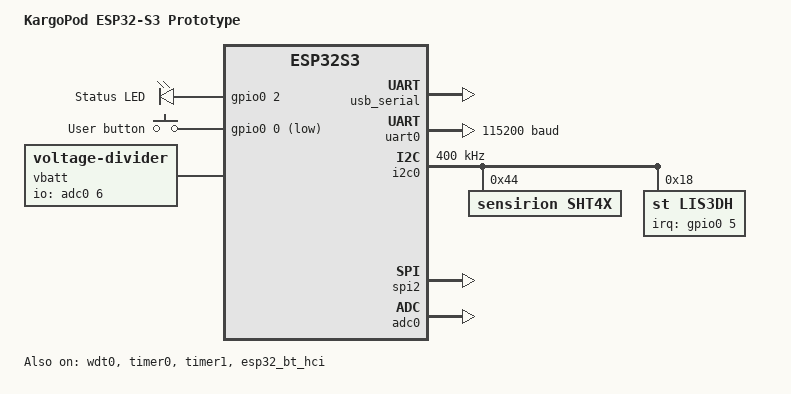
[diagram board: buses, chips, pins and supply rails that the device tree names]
/*
 * Copyright (c) 2025 Kargo Chain
 * SPDX-License-Identifier: Apache-2.0
 */

/dts-v1/;

#include <espressif/esp32s3/esp32s3_wroom_n16r8.dtsi>
#include "kargopod_esp32s3-pinctrl.dtsi"
#include <zephyr/dt-bindings/input/input-event-codes.h>

/ {
	model = "KargoPod ESP32-S3 Prototype";
	compatible = "kargo,kargopod-esp32s3";

	aliases {
		led0 = &blue_led;
		sw0 = &button0;
		i2c-0 = &i2c0;
		watchdog0 = &wdt0;
	};

	chosen {
		zephyr,sram = &sram0;
		zephyr,console = &usb_serial;
		zephyr,shell-uart = &usb_serial;
		zephyr,flash = &flash0;
		zephyr,code-partition = &slot0_partition;
		zephyr,bt-hci = &esp32_bt_hci;
	};

	leds {
		compatible = "gpio-leds";
		blue_led: led_0 {
			gpios = <&gpio0 2 GPIO_ACTIVE_HIGH>;
			label = "Status LED";
		};
	};

	buttons {
		compatible = "gpio-keys";
		button0: button_0 {
			gpios = <&gpio0 0 (GPIO_PULL_UP | GPIO_ACTIVE_LOW)>;
			label = "User button";
			zephyr,code = <INPUT_KEY_0>;
		};
	};

	vbatt {
		compatible = "voltage-divider";
		io-channels = <&adc0 6>;
		output-ohms = <100000>;
		full-ohms = <(100000 + 100000)>;
	};
};

&usb_serial {
	status = "okay";
};

&uart0 {
	status = "okay";
	current-speed = <115200>;
	pinctrl-0 = <&uart0_default>;
	pinctrl-names = "default";
};

&i2c0 {
	status = "okay";
	clock-frequency = <I2C_BITRATE_FAST>;
	pinctrl-0 = <&i2c0_default>;
	pinctrl-names = "default";

	sht4x: sht4x@44 {
		compatible = "sensirion,sht4x";
		reg = <0x44>;
		label = "SHT4X";
	};

	lis3dh: lis3dh@18 {
		compatible = "st,lis3dh";
		reg = <0x18>;
		irq-gpios = <&gpio0 5 GPIO_ACTIVE_HIGH>;
		label = "LIS3DH";
	};
};

&spi2 {
	status = "okay";
	pinctrl-0 = <&spi2_default>;
	pinctrl-names = "default";
};

&gpio0 {
	status = "okay";
};

&gpio1 {
	status = "okay";
};

&wdt0 {
	status = "okay";
};

&timer0 {
	status = "okay";
};

&timer1 {
	status = "okay";
};

&adc0 {
	status = "okay";
};

&esp32_bt_hci {
	status = "okay";
};

&flash0 {
	status = "okay";
	partitions {
		compatible = "fixed-partitions";
		#address-cells = <1>;
		#size-cells = <1>;

		/* Reserve 64kB for the bootloader */
		boot_partition: partition@0 {
			label = "mcuboot";
			reg = <0x00000000 0x00010000>;
			read-only;
		};

		/* Reserve 1024kB for the application in slot 0 */
		slot0_partition: partition@10000 {
			label = "image-0";
			reg = <0x00010000 0x00100000>;
		};

		/* Reserve 1024kB for the application in slot 1 */
		slot1_partition: partition@110000 {
			label = "image-1";
			reg = <0x00110000 0x00100000>;
		};

		/* Reserve 256kB for storage */
		storage_partition: partition@210000 {
			label = "storage";
			reg = <0x00210000 0x00040000>;
		};

		/* Reserve 16kB for scratch */
		scratch_partition: partition@250000 {
			label = "image-scratch";
			reg = <0x00250000 0x00004000>;
		};
	};
};
